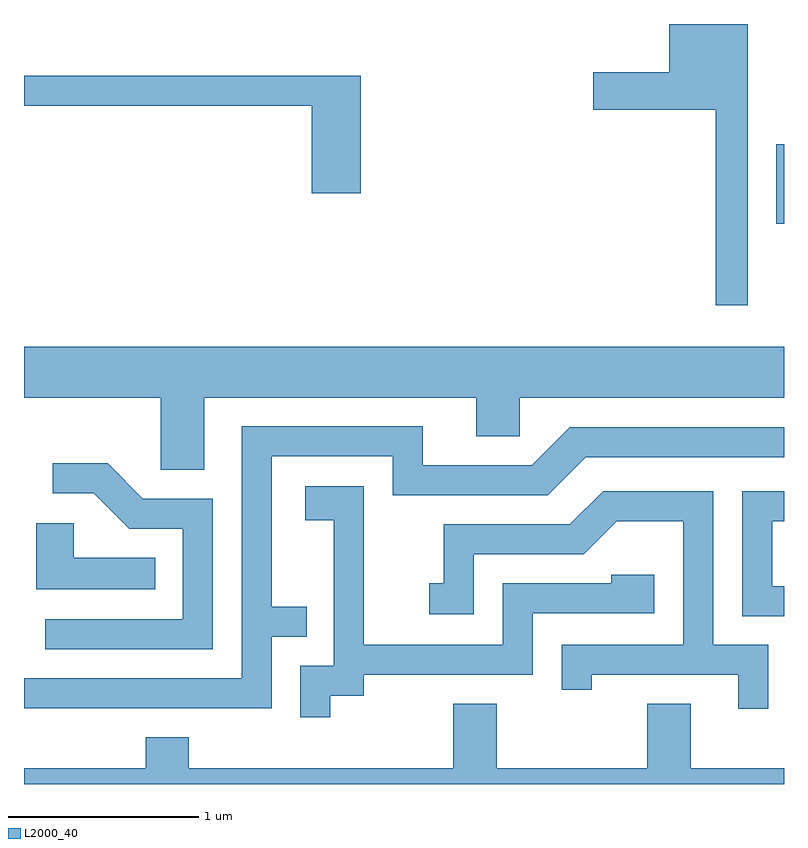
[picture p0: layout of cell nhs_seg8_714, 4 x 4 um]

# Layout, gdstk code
import gdstk
lib = gdstk.Library(unit=1e-6, precision=1e-09)
def R(c, l, rs):  # rectangles x0, y0, x1, y1
    for r in rs: c.add(gdstk.rectangle(r[:2], r[2:], *l))
def P(c, l, *ps):  # polygons
    for p in ps: c.add(gdstk.Polygon(p, *l))
L2000_40 = (2000, 40)

nhs_seg8_714 = lib.new_cell('nhs_seg8_714')
R(nhs_seg8_714, L2000_40, [(209.571,1877.291,209.611,1877.709)])
P(nhs_seg8_714, L2000_40, [(209.419,1878.342),(209.006,1878.342),(209.006,1878.089),(208.606,1878.089),(208.606,1877.891),(209.251,1877.891),(209.251,1876.863),(209.419,1876.863)],
  [(207.384,1878.069),(205.611,1878.069),(205.611,1877.911),(207.126,1877.911),(207.126,1877.451),(207.384,1877.451)],
  [(206.559,1876.376),(207.991,1876.376),(207.991,1876.171),(208.219,1876.171),(208.219,1876.376),(209.611,1876.376),(209.611,1876.644),(205.611,1876.644),(205.611,1876.376),(206.331,1876.376),(206.331,1875.996),(206.559,1875.996)],
  [(206.914,1875.116),(207.098,1875.116),(207.098,1875.274),(206.914,1875.274),(206.914,1876.066),(207.551,1876.066),(207.551,1875.861),(208.367,1875.861),(208.567,1876.061),(209.611,1876.061),(209.611,1876.219),(208.484,1876.219),(208.284,1876.019),(207.709,1876.019),(207.709,1876.224),(206.756,1876.224),(206.756,1874.899),(205.611,1874.899),(205.611,1874.741),(206.914,1874.741)],
  [(206.604,1875.844),(206.237,1875.844),(206.052,1876.029),(205.763,1876.029),(205.763,1875.871),(205.979,1875.871),(206.164,1875.686),(206.446,1875.686),(206.446,1875.209),(205.723,1875.209),(205.723,1875.051),(206.604,1875.051)],
  [(207.224,1874.806),(207.399,1874.806),(207.399,1874.916),(208.289,1874.916),(208.289,1875.241),(208.929,1875.241),(208.929,1875.444),(208.701,1875.444),(208.701,1875.399),(208.131,1875.399),(208.131,1875.074),(207.399,1875.074),(207.399,1875.909),(207.091,1875.909),(207.091,1875.731),(207.241,1875.731),(207.241,1874.964),(207.066,1874.964),(207.066,1874.693),(207.224,1874.693)],
  [(209.529,1875.074),(209.239,1875.074),(209.239,1875.884),(208.659,1875.884),(208.484,1875.709),(207.821,1875.709),(207.821,1875.399),(207.743,1875.399),(207.743,1875.236),(207.979,1875.236),(207.979,1875.551),(208.557,1875.551),(208.732,1875.726),(209.081,1875.726),(209.081,1875.074),(208.441,1875.074),(208.441,1874.838),(208.599,1874.838),(208.599,1874.916),(209.371,1874.916),(209.371,1874.738),(209.529,1874.738)],
  [(209.611,1875.384),(209.549,1875.384),(209.549,1875.726),(209.611,1875.726),(209.611,1875.884),(209.391,1875.884),(209.391,1875.226),(209.611,1875.226)],
  [(206.303,1875.534),(205.874,1875.534),(205.874,1875.714),(205.676,1875.714),(205.676,1875.366),(206.303,1875.366)],
  [(209.611,1874.424),(209.119,1874.424),(209.119,1874.764),(208.891,1874.764),(208.891,1874.424),(208.099,1874.424),(208.099,1874.764),(207.871,1874.764),(207.871,1874.424),(206.479,1874.424),(206.479,1874.589),(206.251,1874.589),(206.251,1874.424),(205.611,1874.424),(205.611,1874.342),(209.611,1874.342)])

lib.write_gds('nhs_seg8_714.gds')
